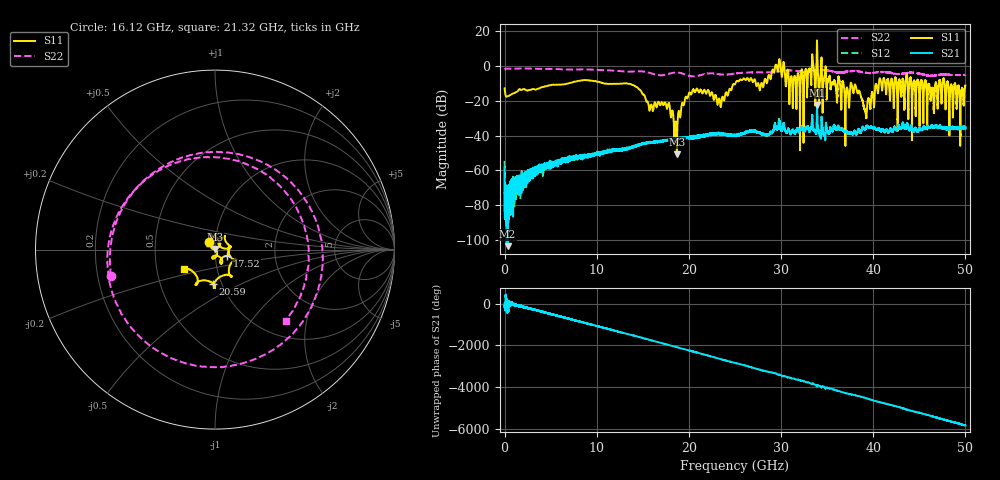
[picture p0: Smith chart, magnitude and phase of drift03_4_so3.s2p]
!Created with skrf (http://scikit-rf.org).
# Hz S RI R 50.0
!freq ReS11 ImS11 ReS21 ImS21 ReS12 ImS12 ReS22 ImS22
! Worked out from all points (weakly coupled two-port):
!   10001 points, 300 kHz to 50 GHz, reference 50 ohm
!   highest |S21| = -22.32 dB at 33.9 GHz (marker M1); lowest = -103.8 dB at 320.3 MHz (marker M2)
!   lowest |S11| = -50.8 dB at 18.7 GHz (marker M3), VSWR 1.01, Z = 50 + j0.285 ohm
!   |S11| at or under -10 dB: start of sweep to 6.959 GHz; 13.31 GHz to 25.05 GHz (11.74 GHz wide, 61.2 % of centre); 37.63 GHz to 40.61 GHz (2.976 GHz wide, 7.61 % of centre) (the widest 3 of 60)
!   |S22| runs from -5.9 to -1.3 dB; largest |S21 - S12| = 0.0078
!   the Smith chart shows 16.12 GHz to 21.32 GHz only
!   S11 on the Smith chart (normalised r, x): 16.12 GHz: 0.94, +0.08; 17.52 GHz: 1.15, -0.08; 20.59 GHz: 0.91, -0.36; 21.32 GHz: 0.69, -0.15
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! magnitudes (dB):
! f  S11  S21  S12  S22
! 300 kHz  -12.8  -58.6  -54.6  -2.1
! 320.3 MHz  -17.4  -103.8  -70.3  -1.4
! 8.335 GHz  -8.2  -53.6  -53.3  -1.9
! 13.82 GHz  -10.7  -47.1  -46.8  -3.1
! 16.12 GHz  -25.7  -43.9  -43.7  -4.5
! 16.67 GHz  -20.6  -43.5  -43.4  -5.2
! 17.52 GHz  -22.3  -42.9  -42.7  -4.8
! 18.7 GHz  -50.8  -41.7  -41.6  -3.7
! 20.59 GHz  -14.4  -41.0  -41.2  -5.9
! 21.32 GHz  -13.9  -40.1  -40.0  -5.1
! 23.3 GHz  -18.9  -38.9  -38.8  -4.7
! 25 GHz  -10.5  -40.3  -39.9  -4.2
! 27.87 GHz  -9.7  -39.1  -39.1  -3.6
! 29.68 GHz  -2.9  -34.9  -34.8  -3.1
! 31.86 GHz  -4.1  -36.5  -37.3  -2.9
! 33.34 GHz  0.2  -32.6  -32.4  -2.9
! 33.9 GHz  14.8  -22.3  -23.1  -2.5
! 37.18 GHz  -12.4  -38.2  -38.0  -3.1
! 38.2 GHz  -13.7  -39.1  -38.9  -2.9
! 39.13 GHz  -25.6  -36.7  -35.9  -3.7
! 41.67 GHz  -9.3  -38.0  -38.0  -3.7
! 50 GHz  -11.2  -35.1  -35.6  -5.0
